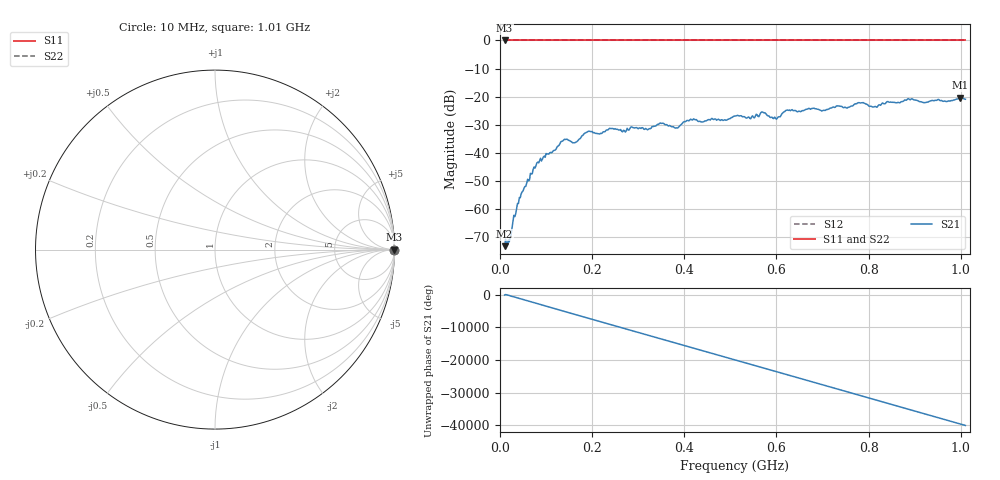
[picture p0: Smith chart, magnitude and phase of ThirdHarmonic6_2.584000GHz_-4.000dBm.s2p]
! 8/17/2025 5:29:20 AM
! C:\ANRITSUVNA\TEMP\TEMP.S2P
! CHANNEL.1
! TR.MEASUREMENT
! RAW.DATA
! RF.CORRECTION.OFF
! AVERAGING.OFF
! IF.BANDWIDTH: 5KHZ
! SWEEPTYPE:  FREQ.SWEEP(Linear)
! Reference Plane Port Info
! PORT:  PORT1  PORT2
! DISTANCE:  0  m  0  m
! TIME:  0  s  0  s
! PHASE.OFFSET:  0  deg.  0  deg.
! LOSS:  0  dB  0  dB
! REF.LOSS:  0  dB  0  dB
! REF.FREQ:  0  Hz  0  Hz
! Power Info
! POWER:  -20  dBm  -20  dBm
! EFF.POWER:  -20  dBm  -20  dBm
! SOURCE.ATTEN:  0  dB  0  dB
! TEST.ATTEN:  0  dB  0  dB
# GHZ S RI R 50.0
! FREQ.GHZ  S11RE  S11IM  S21RE  S21IM  S12RE  S12IM  S22RE  S22IM
!; PortSelection: Port_12
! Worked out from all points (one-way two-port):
!   501 points, 10 MHz to 1.01 GHz, reference 50 ohm
!   highest |S21| = -20.31 dB at 998 MHz (marker M1); lowest = -73.2 dB at 10 MHz (marker M2)
!   lowest |S11| = 0.0 dB at 10 MHz (marker M3)
!   |S11| at or under -10 dB: nowhere
!   |S22| runs from 0.0 to 0.0 dB; largest |S21 - S12| = 1.1
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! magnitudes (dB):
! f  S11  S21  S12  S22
! 10 MHz  0.0  -73.2  0.0  0.0
! 20 MHz  0.0  -71.7  0.0  0.0
! 34 MHz  0.0  -61.8  0.0  0.0
! 46 MHz  0.0  -54.6  0.0  0.0
! 78 MHz  0.0  -44.6  0.0  0.0
! 136 MHz  0.0  -35.8  0.0  0.0
! 162 MHz  0.0  -36.5  0.0  0.0
! 178 MHz  0.0  -34.0  0.0  0.0
! 344 MHz  0.0  -29.9  0.0  0.0
! 382 MHz  0.0  -31.1  0.0  0.0
! 416 MHz  0.0  -28.3  0.0  0.0
! 510 MHz  0.0  -26.9  0.0  0.0
! 540 MHz  0.0  -27.3  0.0  0.0
! 570 MHz  0.0  -25.5  0.0  0.0
! 598 MHz  0.0  -27.7  0.0  0.0
! 624 MHz  0.0  -24.8  0.0  0.0
! 678 MHz  0.0  -24.2  0.0  0.0
! 782 MHz  0.0  -22.3  0.0  0.0
! 814 MHz  0.0  -23.5  0.0  0.0
! 844 MHz  0.0  -22.0  0.0  0.0
! 998 MHz  0.0  -20.3  0.0  0.0
! 1.01 GHz  0.0  -20.9  0.0  0.0
